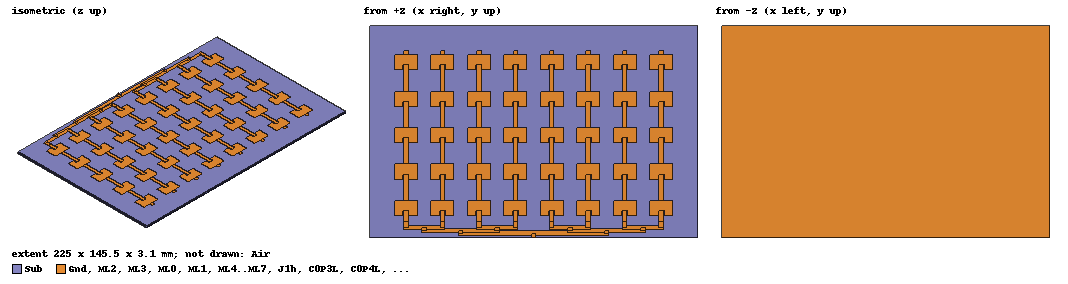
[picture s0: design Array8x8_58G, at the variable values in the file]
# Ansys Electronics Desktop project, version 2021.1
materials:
  vacuum: permittivity=1
  FR4_epoxy: permittivity=4.4 dielectric_loss_tangent=0.02

design Array8x8_58G (HFSS, DrivenModal, model units mm)
options: Save_Adaptive_support_files
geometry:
  Sub [FR4_epoxy] = box(corner=(0mm, 0mm, -1.6mm), size=(225mm, 145.5mm, 1.6mm))
  Gnd = rectangle(corner=(0mm, 0mm, -1.6mm), x_size=225mm, y_size=145.5mm)
  FeedIn = rectangle(corner=(110.95mm, 0mm, 0mm), x_size=3.1mm, y_size=3mm)
  J1h = rectangle(corner=(60.95mm, 1.45mm, 0mm), x_size=103.1mm, y_size=3.1mm)
  J1vl = rectangle(corner=(60.95mm, 3mm, 0mm), x_size=3.1mm, y_size=2mm)
  J1vr = rectangle(corner=(160.95mm, 3mm, 0mm), x_size=3.1mm, y_size=2mm)
  J2hl12 = rectangle(corner=(35.95mm, 3.45mm, 0mm), x_size=53.1mm, y_size=3.1mm)
  J2hr12 = rectangle(corner=(135.95mm, 3.45mm, 0mm), x_size=53.1mm, y_size=3.1mm)
  J2vL12 = rectangle(corner=(35.95mm, 5mm, 0mm), x_size=3.1mm, y_size=2mm)
  J2vL34 = rectangle(corner=(85.95mm, 5mm, 0mm), x_size=3.1mm, y_size=2mm)
  J2vR12 = rectangle(corner=(135.95mm, 5mm, 0mm), x_size=3.1mm, y_size=2mm)
  J2vR34 = rectangle(corner=(185.95mm, 5mm, 0mm), x_size=3.1mm, y_size=2mm)
  J3h_0 = rectangle(corner=(23.45mm, 5.45mm, 0mm), x_size=28.1mm, y_size=3.1mm)
  J3h_1 = rectangle(corner=(73.45mm, 5.45mm, 0mm), x_size=28.1mm, y_size=3.1mm)
  J3h_2 = rectangle(corner=(123.45mm, 5.45mm, 0mm), x_size=28.1mm, y_size=3.1mm)
  J3h_3 = rectangle(corner=(173.45mm, 5.45mm, 0mm), x_size=28.1mm, y_size=3.1mm)
  Cf0 = rectangle(corner=(23.45mm, 7mm, 0mm), x_size=3.1mm, y_size=4mm)
  Cf1 = rectangle(corner=(48.45mm, 7mm, 0mm), x_size=3.1mm, y_size=4mm)
  Cf2 = rectangle(corner=(73.45mm, 7mm, 0mm), x_size=3.1mm, y_size=4mm)
  Cf3 = rectangle(corner=(98.45mm, 7mm, 0mm), x_size=3.1mm, y_size=4mm)
  Cf4 = rectangle(corner=(123.45mm, 7mm, 0mm), x_size=3.1mm, y_size=4mm)
  Cf5 = rectangle(corner=(148.45mm, 7mm, 0mm), x_size=3.1mm, y_size=4mm)
  Cf6 = rectangle(corner=(173.45mm, 7mm, 0mm), x_size=3.1mm, y_size=4mm)
  Cf7 = rectangle(corner=(198.45mm, 7mm, 0mm), x_size=3.1mm, y_size=4mm)
  ML0 = rectangle(corner=(23.45mm, 11mm, 0mm), x_size=3.1mm, y_size=117.25mm)
  C0P1L = rectangle(corner=(17.13mm, 15mm, 0mm), x_size=5.82mm, y_size=10.5mm)
  C0P1R = rectangle(corner=(27.05mm, 15mm, 0mm), x_size=5.82mm, y_size=10.5mm)
  C0P1T = rectangle(corner=(17.13mm, 18.5mm, 0mm), x_size=15.74mm, y_size=7mm)
  C0P1L.unite(C0P1R, C0P1T)
  C0P2L = rectangle(corner=(17.13mm, 40mm, 0mm), x_size=5.82mm, y_size=10.5mm)
  C0P2R = rectangle(corner=(27.05mm, 40mm, 0mm), x_size=5.82mm, y_size=10.5mm)
  C0P2T = rectangle(corner=(17.13mm, 43.5mm, 0mm), x_size=15.74mm, y_size=7mm)
  C0P2L.unite(C0P2R, C0P2T)
  C0P3L = rectangle(corner=(17.13mm, 65mm, 0mm), x_size=5.82mm, y_size=10.5mm)
  C0P3R = rectangle(corner=(27.05mm, 65mm, 0mm), x_size=5.82mm, y_size=10.5mm)
  C0P3T = rectangle(corner=(17.13mm, 68.5mm, 0mm), x_size=15.74mm, y_size=7mm)
  C0P3L.unite(C0P3R, C0P3T)
  C0P4L = rectangle(corner=(17.13mm, 90mm, 0mm), x_size=5.82mm, y_size=10.5mm)
  C0P4R = rectangle(corner=(27.05mm, 90mm, 0mm), x_size=5.82mm, y_size=10.5mm)
  C0P4T = rectangle(corner=(17.13mm, 93.5mm, 0mm), x_size=15.74mm, y_size=7mm)
  C0P4L.unite(C0P4R, C0P4T)
  C0P5L = rectangle(corner=(17.13mm, 115mm, 0mm), x_size=5.82mm, y_size=10.5mm)
  C0P5R = rectangle(corner=(27.05mm, 115mm, 0mm), x_size=5.82mm, y_size=10.5mm)
  C0P5T = rectangle(corner=(17.13mm, 118.5mm, 0mm), x_size=15.74mm, y_size=7mm)
  C0P5L.unite(C0P5R, C0P5T)
  ML1 = rectangle(corner=(48.45mm, 11mm, 0mm), x_size=3.1mm, y_size=117.25mm)
  C1P1L = rectangle(corner=(42.13mm, 15mm, 0mm), x_size=5.82mm, y_size=10.5mm)
  C1P1R = rectangle(corner=(52.05mm, 15mm, 0mm), x_size=5.82mm, y_size=10.5mm)
  C1P1T = rectangle(corner=(42.13mm, 18.5mm, 0mm), x_size=15.74mm, y_size=7mm)
  C1P1L.unite(C1P1R, C1P1T)
  C1P2L = rectangle(corner=(42.13mm, 40mm, 0mm), x_size=5.82mm, y_size=10.5mm)
  C1P2R = rectangle(corner=(52.05mm, 40mm, 0mm), x_size=5.82mm, y_size=10.5mm)
  C1P2T = rectangle(corner=(42.13mm, 43.5mm, 0mm), x_size=15.74mm, y_size=7mm)
  C1P2L.unite(C1P2R, C1P2T)
  C1P3L = rectangle(corner=(42.13mm, 65mm, 0mm), x_size=5.82mm, y_size=10.5mm)
  C1P3R = rectangle(corner=(52.05mm, 65mm, 0mm), x_size=5.82mm, y_size=10.5mm)
  C1P3T = rectangle(corner=(42.13mm, 68.5mm, 0mm), x_size=15.74mm, y_size=7mm)
  C1P3L.unite(C1P3R, C1P3T)
  C1P4L = rectangle(corner=(42.13mm, 90mm, 0mm), x_size=5.82mm, y_size=10.5mm)
  C1P4R = rectangle(corner=(52.05mm, 90mm, 0mm), x_size=5.82mm, y_size=10.5mm)
  C1P4T = rectangle(corner=(42.13mm, 93.5mm, 0mm), x_size=15.74mm, y_size=7mm)
  C1P4L.unite(C1P4R, C1P4T)
  C1P5L = rectangle(corner=(42.13mm, 115mm, 0mm), x_size=5.82mm, y_size=10.5mm)
  C1P5R = rectangle(corner=(52.05mm, 115mm, 0mm), x_size=5.82mm, y_size=10.5mm)
  C1P5T = rectangle(corner=(42.13mm, 118.5mm, 0mm), x_size=15.74mm, y_size=7mm)
  C1P5L.unite(C1P5R, C1P5T)
  ML2 = rectangle(corner=(73.45mm, 11mm, 0mm), x_size=3.1mm, y_size=117.25mm)
  C2P1L = rectangle(corner=(67.13mm, 15mm, 0mm), x_size=5.82mm, y_size=10.5mm)
  C2P1R = rectangle(corner=(77.05mm, 15mm, 0mm), x_size=5.82mm, y_size=10.5mm)
  C2P1T = rectangle(corner=(67.13mm, 18.5mm, 0mm), x_size=15.74mm, y_size=7mm)
  C2P1L.unite(C2P1R, C2P1T)
  C2P2L = rectangle(corner=(67.13mm, 40mm, 0mm), x_size=5.82mm, y_size=10.5mm)
  C2P2R = rectangle(corner=(77.05mm, 40mm, 0mm), x_size=5.82mm, y_size=10.5mm)
  C2P2T = rectangle(corner=(67.13mm, 43.5mm, 0mm), x_size=15.74mm, y_size=7mm)
  C2P2L.unite(C2P2R, C2P2T)
  C2P3L = rectangle(corner=(67.13mm, 65mm, 0mm), x_size=5.82mm, y_size=10.5mm)
  C2P3R = rectangle(corner=(77.05mm, 65mm, 0mm), x_size=5.82mm, y_size=10.5mm)
  C2P3T = rectangle(corner=(67.13mm, 68.5mm, 0mm), x_size=15.74mm, y_size=7mm)
  C2P3L.unite(C2P3R, C2P3T)
  C2P4L = rectangle(corner=(67.13mm, 90mm, 0mm), x_size=5.82mm, y_size=10.5mm)
  C2P4R = rectangle(corner=(77.05mm, 90mm, 0mm), x_size=5.82mm, y_size=10.5mm)
  C2P4T = rectangle(corner=(67.13mm, 93.5mm, 0mm), x_size=15.74mm, y_size=7mm)
  C2P4L.unite(C2P4R, C2P4T)
  C2P5L = rectangle(corner=(67.13mm, 115mm, 0mm), x_size=5.82mm, y_size=10.5mm)
  C2P5R = rectangle(corner=(77.05mm, 115mm, 0mm), x_size=5.82mm, y_size=10.5mm)
  C2P5T = rectangle(corner=(67.13mm, 118.5mm, 0mm), x_size=15.74mm, y_size=7mm)
  C2P5L.unite(C2P5R, C2P5T)
  ML3 = rectangle(corner=(98.45mm, 11mm, 0mm), x_size=3.1mm, y_size=117.25mm)
  C3P1L = rectangle(corner=(92.13mm, 15mm, 0mm), x_size=5.82mm, y_size=10.5mm)
  C3P1R = rectangle(corner=(102.05mm, 15mm, 0mm), x_size=5.82mm, y_size=10.5mm)
  C3P1T = rectangle(corner=(92.13mm, 18.5mm, 0mm), x_size=15.74mm, y_size=7mm)
  C3P1L.unite(C3P1R, C3P1T)
  C3P2L = rectangle(corner=(92.13mm, 40mm, 0mm), x_size=5.82mm, y_size=10.5mm)
  C3P2R = rectangle(corner=(102.05mm, 40mm, 0mm), x_size=5.82mm, y_size=10.5mm)
  C3P2T = rectangle(corner=(92.13mm, 43.5mm, 0mm), x_size=15.74mm, y_size=7mm)
  C3P2L.unite(C3P2R, C3P2T)
  C3P3L = rectangle(corner=(92.13mm, 65mm, 0mm), x_size=5.82mm, y_size=10.5mm)
  C3P3R = rectangle(corner=(102.05mm, 65mm, 0mm), x_size=5.82mm, y_size=10.5mm)
  C3P3T = rectangle(corner=(92.13mm, 68.5mm, 0mm), x_size=15.74mm, y_size=7mm)
  C3P3L.unite(C3P3R, C3P3T)
  C3P4L = rectangle(corner=(92.13mm, 90mm, 0mm), x_size=5.82mm, y_size=10.5mm)
  C3P4R = rectangle(corner=(102.05mm, 90mm, 0mm), x_size=5.82mm, y_size=10.5mm)
  C3P4T = rectangle(corner=(92.13mm, 93.5mm, 0mm), x_size=15.74mm, y_size=7mm)
  C3P4L.unite(C3P4R, C3P4T)
  C3P5L = rectangle(corner=(92.13mm, 115mm, 0mm), x_size=5.82mm, y_size=10.5mm)
  C3P5R = rectangle(corner=(102.05mm, 115mm, 0mm), x_size=5.82mm, y_size=10.5mm)
  C3P5T = rectangle(corner=(92.13mm, 118.5mm, 0mm), x_size=15.74mm, y_size=7mm)
  C3P5L.unite(C3P5R, C3P5T)
  ML4 = rectangle(corner=(123.45mm, 11mm, 0mm), x_size=3.1mm, y_size=117.25mm)
  C4P1L = rectangle(corner=(117.13mm, 15mm, 0mm), x_size=5.82mm, y_size=10.5mm)
  C4P1R = rectangle(corner=(127.05mm, 15mm, 0mm), x_size=5.82mm, y_size=10.5mm)
  C4P1T = rectangle(corner=(117.13mm, 18.5mm, 0mm), x_size=15.74mm, y_size=7mm)
  C4P1L.unite(C4P1R, C4P1T)
  C4P2L = rectangle(corner=(117.13mm, 40mm, 0mm), x_size=5.82mm, y_size=10.5mm)
  C4P2R = rectangle(corner=(127.05mm, 40mm, 0mm), x_size=5.82mm, y_size=10.5mm)
  C4P2T = rectangle(corner=(117.13mm, 43.5mm, 0mm), x_size=15.74mm, y_size=7mm)
  C4P2L.unite(C4P2R, C4P2T)
  C4P3L = rectangle(corner=(117.13mm, 65mm, 0mm), x_size=5.82mm, y_size=10.5mm)
  C4P3R = rectangle(corner=(127.05mm, 65mm, 0mm), x_size=5.82mm, y_size=10.5mm)
  C4P3T = rectangle(corner=(117.13mm, 68.5mm, 0mm), x_size=15.74mm, y_size=7mm)
  C4P3L.unite(C4P3R, C4P3T)
  C4P4L = rectangle(corner=(117.13mm, 90mm, 0mm), x_size=5.82mm, y_size=10.5mm)
  C4P4R = rectangle(corner=(127.05mm, 90mm, 0mm), x_size=5.82mm, y_size=10.5mm)
  C4P4T = rectangle(corner=(117.13mm, 93.5mm, 0mm), x_size=15.74mm, y_size=7mm)
  C4P4L.unite(C4P4R, C4P4T)
  C4P5L = rectangle(corner=(117.13mm, 115mm, 0mm), x_size=5.82mm, y_size=10.5mm)
  C4P5R = rectangle(corner=(127.05mm, 115mm, 0mm), x_size=5.82mm, y_size=10.5mm)
  C4P5T = rectangle(corner=(117.13mm, 118.5mm, 0mm), x_size=15.74mm, y_size=7mm)
  C4P5L.unite(C4P5R, C4P5T)
  ML5 = rectangle(corner=(148.45mm, 11mm, 0mm), x_size=3.1mm, y_size=117.25mm)
  C5P1L = rectangle(corner=(142.13mm, 15mm, 0mm), x_size=5.82mm, y_size=10.5mm)
  C5P1R = rectangle(corner=(152.05mm, 15mm, 0mm), x_size=5.82mm, y_size=10.5mm)
  C5P1T = rectangle(corner=(142.13mm, 18.5mm, 0mm), x_size=15.74mm, y_size=7mm)
  C5P1L.unite(C5P1R, C5P1T)
  C5P2L = rectangle(corner=(142.13mm, 40mm, 0mm), x_size=5.82mm, y_size=10.5mm)
  C5P2R = rectangle(corner=(152.05mm, 40mm, 0mm), x_size=5.82mm, y_size=10.5mm)
  C5P2T = rectangle(corner=(142.13mm, 43.5mm, 0mm), x_size=15.74mm, y_size=7mm)
  C5P2L.unite(C5P2R, C5P2T)
  C5P3L = rectangle(corner=(142.13mm, 65mm, 0mm), x_size=5.82mm, y_size=10.5mm)
  C5P3R = rectangle(corner=(152.05mm, 65mm, 0mm), x_size=5.82mm, y_size=10.5mm)
  C5P3T = rectangle(corner=(142.13mm, 68.5mm, 0mm), x_size=15.74mm, y_size=7mm)
  C5P3L.unite(C5P3R, C5P3T)
  C5P4L = rectangle(corner=(142.13mm, 90mm, 0mm), x_size=5.82mm, y_size=10.5mm)
  C5P4R = rectangle(corner=(152.05mm, 90mm, 0mm), x_size=5.82mm, y_size=10.5mm)
  C5P4T = rectangle(corner=(142.13mm, 93.5mm, 0mm), x_size=15.74mm, y_size=7mm)
  C5P4L.unite(C5P4R, C5P4T)
  C5P5L = rectangle(corner=(142.13mm, 115mm, 0mm), x_size=5.82mm, y_size=10.5mm)
  C5P5R = rectangle(corner=(152.05mm, 115mm, 0mm), x_size=5.82mm, y_size=10.5mm)
  C5P5T = rectangle(corner=(142.13mm, 118.5mm, 0mm), x_size=15.74mm, y_size=7mm)
  C5P5L.unite(C5P5R, C5P5T)
  ML6 = rectangle(corner=(173.45mm, 11mm, 0mm), x_size=3.1mm, y_size=117.25mm)
  C6P1L = rectangle(corner=(167.13mm, 15mm, 0mm), x_size=5.82mm, y_size=10.5mm)
  C6P1R = rectangle(corner=(177.05mm, 15mm, 0mm), x_size=5.82mm, y_size=10.5mm)
  C6P1T = rectangle(corner=(167.13mm, 18.5mm, 0mm), x_size=15.74mm, y_size=7mm)
  C6P1L.unite(C6P1R, C6P1T)
  C6P2L = rectangle(corner=(167.13mm, 40mm, 0mm), x_size=5.82mm, y_size=10.5mm)
  C6P2R = rectangle(corner=(177.05mm, 40mm, 0mm), x_size=5.82mm, y_size=10.5mm)
  C6P2T = rectangle(corner=(167.13mm, 43.5mm, 0mm), x_size=15.74mm, y_size=7mm)
  C6P2L.unite(C6P2R, C6P2T)
  C6P3L = rectangle(corner=(167.13mm, 65mm, 0mm), x_size=5.82mm, y_size=10.5mm)
  C6P3R = rectangle(corner=(177.05mm, 65mm, 0mm), x_size=5.82mm, y_size=10.5mm)
  C6P3T = rectangle(corner=(167.13mm, 68.5mm, 0mm), x_size=15.74mm, y_size=7mm)
  C6P3L.unite(C6P3R, C6P3T)
  C6P4L = rectangle(corner=(167.13mm, 90mm, 0mm), x_size=5.82mm, y_size=10.5mm)
  C6P4R = rectangle(corner=(177.05mm, 90mm, 0mm), x_size=5.82mm, y_size=10.5mm)
  C6P4T = rectangle(corner=(167.13mm, 93.5mm, 0mm), x_size=15.74mm, y_size=7mm)
  C6P4L.unite(C6P4R, C6P4T)
  C6P5L = rectangle(corner=(167.13mm, 115mm, 0mm), x_size=5.82mm, y_size=10.5mm)
  C6P5R = rectangle(corner=(177.05mm, 115mm, 0mm), x_size=5.82mm, y_size=10.5mm)
  C6P5T = rectangle(corner=(167.13mm, 118.5mm, 0mm), x_size=15.74mm, y_size=7mm)
  C6P5L.unite(C6P5R, C6P5T)
  ML7 = rectangle(corner=(198.45mm, 11mm, 0mm), x_size=3.1mm, y_size=117.25mm)
  C7P1L = rectangle(corner=(192.13mm, 15mm, 0mm), x_size=5.82mm, y_size=10.5mm)
  C7P1R = rectangle(corner=(202.05mm, 15mm, 0mm), x_size=5.82mm, y_size=10.5mm)
  C7P1T = rectangle(corner=(192.13mm, 18.5mm, 0mm), x_size=15.74mm, y_size=7mm)
  C7P1L.unite(C7P1R, C7P1T)
  C7P2L = rectangle(corner=(192.13mm, 40mm, 0mm), x_size=5.82mm, y_size=10.5mm)
  C7P2R = rectangle(corner=(202.05mm, 40mm, 0mm), x_size=5.82mm, y_size=10.5mm)
  C7P2T = rectangle(corner=(192.13mm, 43.5mm, 0mm), x_size=15.74mm, y_size=7mm)
  C7P2L.unite(C7P2R, C7P2T)
  C7P3L = rectangle(corner=(192.13mm, 65mm, 0mm), x_size=5.82mm, y_size=10.5mm)
  C7P3R = rectangle(corner=(202.05mm, 65mm, 0mm), x_size=5.82mm, y_size=10.5mm)
  C7P3T = rectangle(corner=(192.13mm, 68.5mm, 0mm), x_size=15.74mm, y_size=7mm)
  C7P3L.unite(C7P3R, C7P3T)
  C7P4L = rectangle(corner=(192.13mm, 90mm, 0mm), x_size=5.82mm, y_size=10.5mm)
  C7P4R = rectangle(corner=(202.05mm, 90mm, 0mm), x_size=5.82mm, y_size=10.5mm)
  C7P4T = rectangle(corner=(192.13mm, 93.5mm, 0mm), x_size=15.74mm, y_size=7mm)
  C7P4L.unite(C7P4R, C7P4T)
  C7P5L = rectangle(corner=(192.13mm, 115mm, 0mm), x_size=5.82mm, y_size=10.5mm)
  C7P5R = rectangle(corner=(202.05mm, 115mm, 0mm), x_size=5.82mm, y_size=10.5mm)
  C7P5T = rectangle(corner=(192.13mm, 118.5mm, 0mm), x_size=15.74mm, y_size=7mm)
  C7P5L.unite(C7P5R, C7P5T)
  Port1 = rectangle(corner=(110.95mm, 0mm, -1.6mm), z_size=3.1mm, x_size=1.6mm)
  Air [vacuum] = box(corner=(-15mm, -15mm, -16.6mm), size=(255mm, 175.5mm, 31.6mm))
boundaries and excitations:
  PE1: Perfect E Objects=Gnd
  PE2: Perfect E Objects=FeedIn
  PE3: Perfect E Objects=J1h
  PE4: Perfect E Objects=J1vl
  PE5: Perfect E Objects=J1vr
  PE6: Perfect E Objects=J2hl12
  PE7: Perfect E Objects=J2hr12
  PE8: Perfect E Objects=J2vL12
  PE9: Perfect E Objects=J2vL34
  PE10: Perfect E Objects=J2vR12
  PE11: Perfect E Objects=J2vR34
  PE12: Perfect E Objects=J3h_0
  PE13: Perfect E Objects=J3h_1
  PE14: Perfect E Objects=J3h_2
  PE15: Perfect E Objects=J3h_3
  PE16: Perfect E Objects=Cf0
  PE17: Perfect E Objects=Cf1
  PE18: Perfect E Objects=Cf2
  PE19: Perfect E Objects=Cf3
  PE20: Perfect E Objects=Cf4
  PE21: Perfect E Objects=Cf5
  PE22: Perfect E Objects=Cf6
  PE23: Perfect E Objects=Cf7
  PE24: Perfect E Objects=ML0
  PE25: Perfect E Objects=C0P1L
  PE26: Perfect E Objects=C0P2L
  PE27: Perfect E Objects=C0P3L
  PE28: Perfect E Objects=C0P4L
  PE29: Perfect E Objects=C0P5L
  PE30: Perfect E Objects=ML1
  PE31: Perfect E Objects=C1P1L
  PE32: Perfect E Objects=C1P2L
  PE33: Perfect E Objects=C1P3L
  PE34: Perfect E Objects=C1P4L
  PE35: Perfect E Objects=C1P5L
  PE36: Perfect E Objects=ML2
  PE37: Perfect E Objects=C2P1L
  PE38: Perfect E Objects=C2P2L
  PE39: Perfect E Objects=C2P3L
  PE40: Perfect E Objects=C2P4L
  PE41: Perfect E Objects=C2P5L
  PE42: Perfect E Objects=ML3
  PE43: Perfect E Objects=C3P1L
  PE44: Perfect E Objects=C3P2L
  PE45: Perfect E Objects=C3P3L
  PE46: Perfect E Objects=C3P4L
  PE47: Perfect E Objects=C3P5L
  PE48: Perfect E Objects=ML4
  PE49: Perfect E Objects=C4P1L
  PE50: Perfect E Objects=C4P2L
  PE51: Perfect E Objects=C4P3L
  PE52: Perfect E Objects=C4P4L
  PE53: Perfect E Objects=C4P5L
  PE54: Perfect E Objects=ML5
  PE55: Perfect E Objects=C5P1L
  PE56: Perfect E Objects=C5P2L
  PE57: Perfect E Objects=C5P3L
  PE58: Perfect E Objects=C5P4L
  PE59: Perfect E Objects=C5P5L
  PE60: Perfect E Objects=ML6
  PE61: Perfect E Objects=C6P1L
  PE62: Perfect E Objects=C6P2L
  PE63: Perfect E Objects=C6P3L
  PE64: Perfect E Objects=C6P4L
  PE65: Perfect E Objects=C6P5L
  PE66: Perfect E Objects=ML7
  PE67: Perfect E Objects=C7P1L
  PE68: Perfect E Objects=C7P2L
  PE69: Perfect E Objects=C7P3L
  PE70: Perfect E Objects=C7P4L
  PE71: Perfect E Objects=C7P5L
  Rad: Radiation Objects=Air
  1: Lumped Port Objects=Port1 Modes{Mode1{IntLine{Port1.edge(z at corner) at 0.0312 along -> middle of FeedIn.edge(y at corner)} CharImp=Zpi RenormImp=50ohm}} Impedance=50ohm
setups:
  Setup1: HfssDriven Frequency=5.8GHz MaxDeltaS=0.01 MaximumPasses=10 MinimumPasses=1 MinimumConvergedPasses=1 PercentRefinement=30 BasisOrder=1 PortAccuracy=2
    sweep Sweep: 5GHz to 7GHz, 201 points; Type=Interpolating InterpTolerance=0.5 InterpMaxSolns=250 InterpUsePortImped=false PassivityErrorTolerance=0.0001
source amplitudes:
  1:1: 1W 0deg
